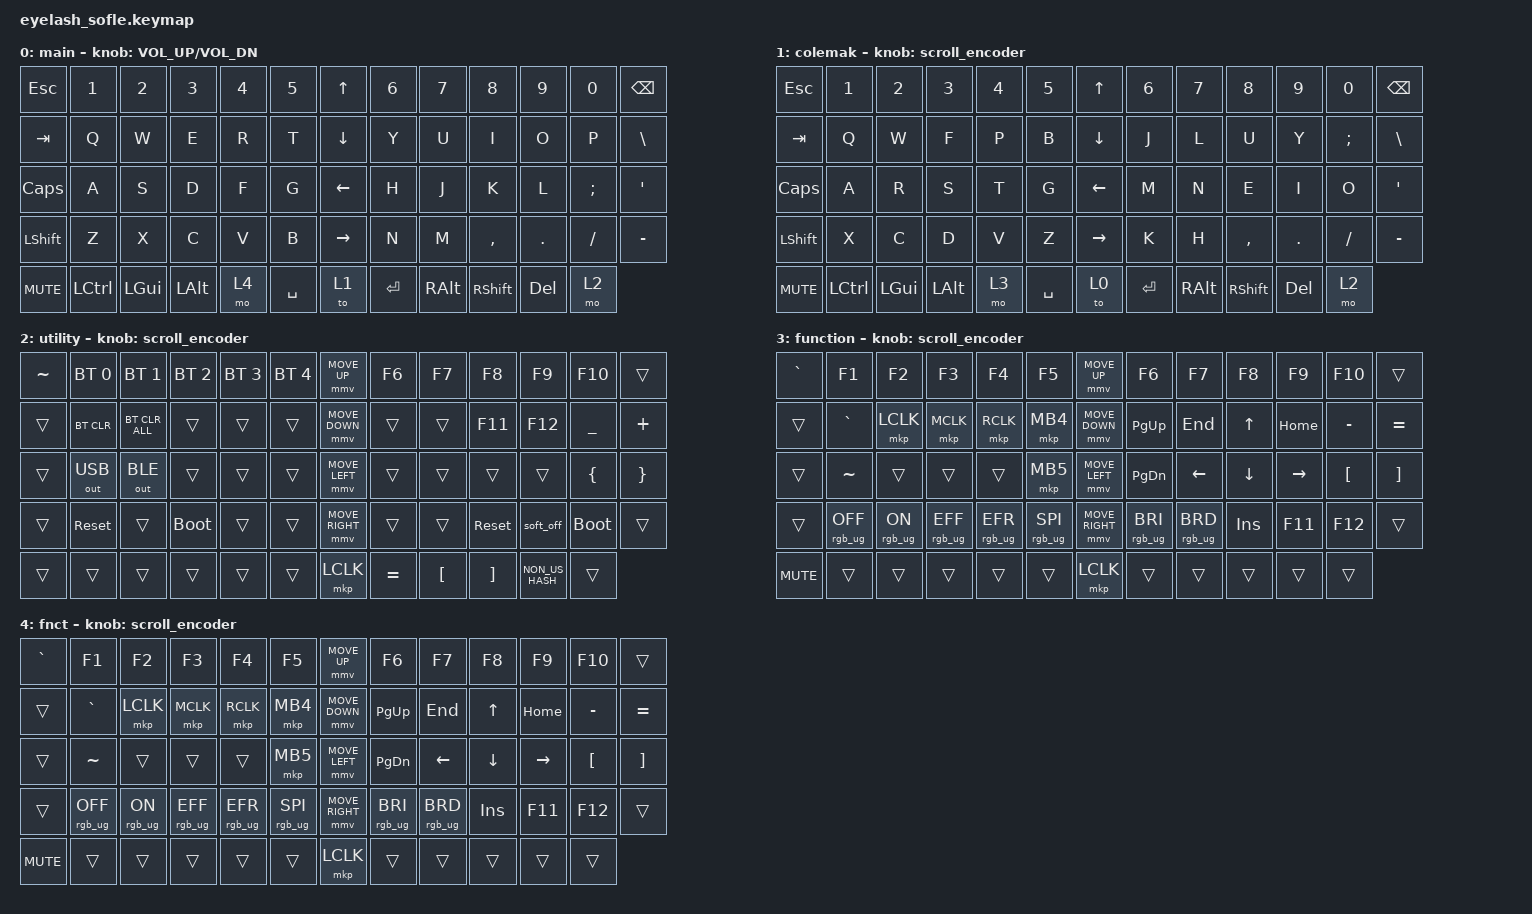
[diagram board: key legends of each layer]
#define ZMK_POINTING_DEFAULT_MOVE_VAL 1200  // 600
#define ZMK_POINTING_DEFAULT_SCRL_VAL 35    // 10
#include <input/processors.dtsi>
#include <behaviors.dtsi>
#include <dt-bindings/zmk/bt.h>
#include <dt-bindings/zmk/keys.h>
#include <dt-bindings/zmk/outputs.h>
#include <dt-bindings/zmk/pointing.h>
#include <dt-bindings/zmk/rgb.h>
#include <zephyr/dt-bindings/input/input-event-codes.h>

/ {
  zip_scroll_scaler: zip_scroll_scaler {
    compatible = "zmk,input-processor-scaler";
    #input-processor-cells = <2>;
    type = <INPUT_EV_REL>;
    codes = <INPUT_REL_WHEEL INPUT_REL_HWHEEL>;
    track-remainders;
  };
};

&mmv_input_listener {
       input-processors = <&zip_xy_scaler 2 1>;
};

&msc_input_listener {
       input-processors = <&zip_scroll_scaler 2 1>;
};

&msc {
    acceleration-exponent = <0>;      // 0
    time-to-max-speed-ms = <0>;       // 300
    delay-ms = <0>;                   // 0
};

&mmv {
    time-to-max-speed-ms = <400>;
    acceleration-exponent = <1>;
};


/ {

    scroll_encoder: scroll_encoder {
        compatible = "zmk,behavior-sensor-rotate";
        #sensor-binding-cells = <0>;
        bindings = <&msc SCRL_DOWN>, <&msc SCRL_UP>;
        tap-ms = <30>;
    };

    keymap {
        compatible = "zmk,keymap";

        layer0 {
            bindings = <
&kp ESC     &kp N1     &kp N2        &kp N3        &kp N4  &kp N5       &kp UP_ARROW     &kp N6     &kp N7     &kp N8     &kp N9           &kp N0      &kp BACKSPACE
&kp TAB     &kp Q      &kp W         &kp E         &kp R   &kp T        &kp DOWN_ARROW   &kp Y      &kp U      &kp I      &kp O            &kp P       &kp BSLH
&kp CAPS    &kp A      &kp S         &kp D         &kp F   &kp G        &kp LEFT_ARROW   &kp H      &kp J      &kp K      &kp L            &kp SEMI    &kp APOS
&kp LSHFT   &kp Z      &kp X         &kp C         &kp V   &kp B        &kp RIGHT_ARROW  &kp N      &kp M      &kp COMMA  &kp DOT          &kp FSLH    &kp MINUS
&kp C_MUTE  &kp LCTRL  &kp LEFT_GUI  &kp LEFT_ALT  &mo 4   &kp SPACE    &to 1        &kp ENTER  &kp RIGHT_ALT  &kp RIGHT_SHIFT    &kp DELETE &mo 2
            >;

            display-name = "main";
            sensor-bindings = <&inc_dec_kp C_VOLUME_UP C_VOL_DN>;
        };

        layer_1 {
            bindings = <
&kp ESC     &kp N1     &kp N2        &kp N3        &kp N4  &kp N5       &kp UP_ARROW     &kp N6     &kp N7     &kp N8     &kp N9           &kp N0      &kp BACKSPACE
&kp TAB     &kp Q      &kp W         &kp F         &kp P   &kp B        &kp DOWN_ARROW   &kp J      &kp L      &kp U      &kp Y            &kp SEMI    &kp BSLH
&kp CAPS    &kp A      &kp R         &kp S         &kp T   &kp G        &kp LEFT_ARROW   &kp M      &kp N      &kp E      &kp I            &kp O       &kp APOS
&kp LSHFT   &kp X      &kp C         &kp D         &kp V   &kp Z        &kp RIGHT_ARROW  &kp K      &kp H      &kp COMMA  &kp DOT          &kp FSLH    &kp MINUS
&kp C_MUTE  &kp LCTRL  &kp LEFT_GUI  &kp LEFT_ALT  &mo 3   &kp SPACE    &to 0        &kp ENTER  &kp RIGHT_ALT  &kp RIGHT_SHIFT    &kp DELETE &mo 2
            >;

            display-name = "colemak";
            sensor-bindings = <&scroll_encoder>;
        };

        layer_2 {
            bindings = <
&kp TILDE  &bt BT_SEL 0  &bt BT_SEL 1    &bt BT_SEL 2  &bt BT_SEL 3  &bt BT_SEL 4    &mmv MOVE_UP     &kp F6  &kp F7  &kp F8      &kp F9     &kp F10      &trans
&trans     &bt BT_CLR    &bt BT_CLR_ALL  &trans        &trans        &trans          &mmv MOVE_DOWN   &trans  &trans  &kp F11     &kp F12    &kp UNDER    &kp PLUS
&trans     &out OUT_USB  &out OUT_BLE    &trans        &trans        &trans          &mmv MOVE_LEFT   &trans  &trans  &trans      &trans     &kp LBRC     &kp RBRC
&trans     &sys_reset    &trans          &bootloader   &trans        &trans          &mmv MOVE_RIGHT  &trans  &trans  &sys_reset  &soft_off  &bootloader  &trans
&trans     &trans        &trans          &trans        &trans        &trans          &mkp LCLK       &kp EQUAL &kp LEFT_BRACKET  &kp RIGHT_BRACKET  &kp NON_US_HASH  &trans
            >;
            display-name = "utility";
            sensor-bindings = <&scroll_encoder>;
        };

        layer_3 {
             bindings = <
&kp GRAVE   &kp F1           &kp F2          &kp F3           &kp F4           &kp F5             &mmv MOVE_UP     &kp F6           &kp F7           &kp F8      &kp F9     &kp F10           &trans
&trans      &kp GRAVE        &mkp LCLK       &mkp MCLK        &mkp RCLK        &mkp MB4           &mmv MOVE_DOWN   &kp PG_UP        &kp END          &kp UP      &kp HOME   &kp MINUS         &kp EQUAL
&trans      &kp TILDE        &trans          &trans           &trans           &mkp MB5           &mmv MOVE_LEFT   &kp PG_DN        &kp LEFT         &kp DOWN    &kp RIGHT  &kp LEFT_BRACKET  &kp RIGHT_BRACKET
&trans      &rgb_ug RGB_OFF  &rgb_ug RGB_ON  &rgb_ug RGB_EFF  &rgb_ug RGB_EFR  &rgb_ug RGB_SPI    &mmv MOVE_RIGHT  &rgb_ug RGB_BRI  &rgb_ug RGB_BRD  &kp INSERT  &kp F11    &kp F12           &trans
&kp C_MUTE  &trans           &trans          &trans           &trans           &trans             &mkp LCLK        &trans           &trans           &trans      &trans     &trans
            >;
            display-name = "function";
            sensor-bindings = <&scroll_encoder>;
        };
layer_4 {
             bindings = <
&kp GRAVE   &kp F1           &kp F2          &kp F3           &kp F4           &kp F5             &mmv MOVE_UP     &kp F6           &kp F7           &kp F8      &kp F9     &kp F10           &trans
&trans      &kp GRAVE        &mkp LCLK       &mkp MCLK        &mkp RCLK        &mkp MB4           &mmv MOVE_DOWN   &kp PG_UP        &kp END          &kp UP      &kp HOME   &kp MINUS         &kp EQUAL
&trans      &kp TILDE        &trans          &trans           &trans           &mkp MB5           &mmv MOVE_LEFT   &kp PG_DN        &kp LEFT         &kp DOWN    &kp RIGHT  &kp LEFT_BRACKET  &kp RIGHT_BRACKET
&trans      &rgb_ug RGB_OFF  &rgb_ug RGB_ON  &rgb_ug RGB_EFF  &rgb_ug RGB_EFR  &rgb_ug RGB_SPI    &mmv MOVE_RIGHT  &rgb_ug RGB_BRI  &rgb_ug RGB_BRD  &kp INSERT  &kp F11    &kp F12           &trans
&kp C_MUTE  &trans           &trans          &trans           &trans           &trans             &mkp LCLK        &trans           &trans           &trans      &trans     &trans
            >;
            display-name = "fnct";
            sensor-bindings = <&scroll_encoder>;
        };
    };
};
